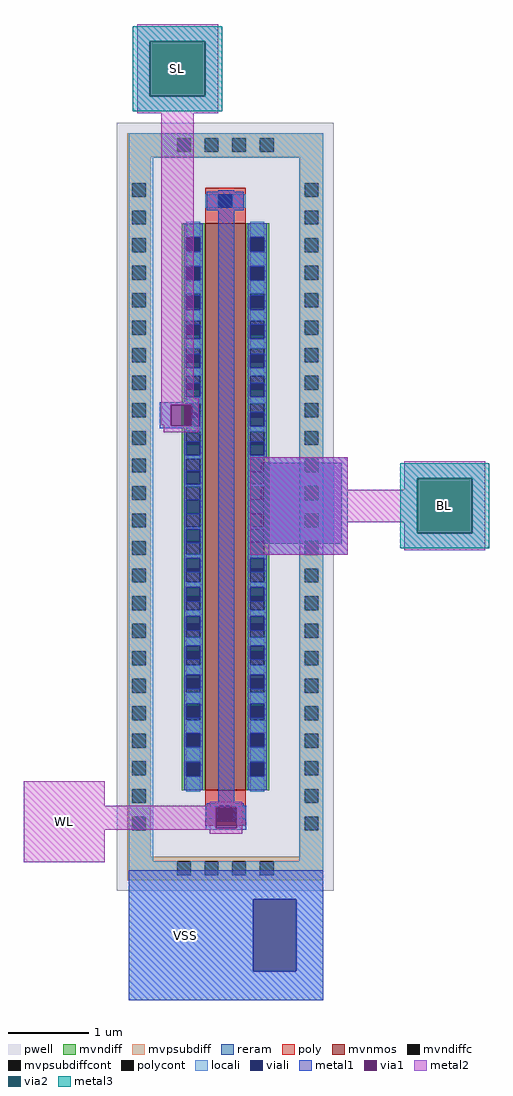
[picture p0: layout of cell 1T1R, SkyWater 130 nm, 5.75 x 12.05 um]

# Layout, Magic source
magic
tech sky130B
magscale 1 2
<< locali >>
rect -100 2500 380 2560
rect -100 760 -40 2500
rect 320 760 380 2500
rect -100 669 380 760
rect -100 491 207 669
rect 313 491 380 669
rect -100 420 380 491
<< viali >>
rect 207 491 313 669
<< metal1 >>
rect -24 1890 82 1896
rect -24 1838 3 1890
rect 55 1838 82 1890
rect -24 1832 82 1838
rect 120 900 160 2420
rect 200 1520 440 1760
rect 90 896 190 900
rect 90 844 114 896
rect 166 844 190 896
rect 90 840 190 844
rect -100 669 380 740
rect -100 491 207 669
rect 313 491 380 669
rect -100 420 380 491
<< via1 >>
rect 3 1838 55 1890
rect 114 844 166 896
<< metal2 >>
rect -80 2788 120 2830
rect -80 2652 -48 2788
rect 88 2652 120 2788
rect -80 2610 120 2652
rect -20 1906 60 2610
rect -20 1890 72 1906
rect -20 1840 3 1890
rect -14 1838 3 1840
rect 55 1838 72 1890
rect -14 1822 72 1838
rect 200 1680 440 1760
rect 580 1708 780 1750
rect 580 1680 612 1708
rect 200 1600 612 1680
rect 200 1520 440 1600
rect 580 1572 612 1600
rect 748 1572 780 1708
rect 580 1530 780 1572
rect -360 900 -160 960
rect 100 900 180 910
rect -360 896 180 900
rect -360 844 114 896
rect 166 844 180 896
rect -360 840 180 844
rect -360 760 -160 840
rect 100 830 180 840
<< via2 >>
rect -48 2652 88 2788
rect 612 1572 748 1708
<< metal3 >>
rect -90 2788 130 2825
rect -90 2652 -48 2788
rect 88 2652 130 2788
rect -90 2615 130 2652
rect 570 1708 790 1745
rect 570 1572 612 1708
rect 748 1572 790 1708
rect 570 1535 790 1572
use sky130_fd_pr__nfet_g5v0d10v5_9YEQ2B  XM1
transform 1 0 138 0 1 1638
box -268 -948 268 948
use sky130_fd_pr_reram__reram_cell_X  XR1
transform 1 0 256 0 1 2038
box -36 -498 176 -286
<< labels >>
flabel metal3 s 580 1540 780 1740 0 FreeSans 320 0 0 0 BL
port 1 nsew
flabel metal2 s -360 760 -160 960 0 FreeSans 320 0 0 0 WL
port 2 nsew
flabel metal3 s -80 2620 120 2820 0 FreeSans 320 0 0 0 SL
port 3 nsew
flabel metal1 s -60 480 140 680 0 FreeSans 320 0 0 0 VSS
port 4 nsew
<< end >>

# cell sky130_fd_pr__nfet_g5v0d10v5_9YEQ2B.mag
magic
tech sky130B
magscale 1 2
<< pwell >>
rect -268 -948 268 948
<< mvnmos >>
rect -50 -700 50 700
<< mvndiff >>
rect -108 663 -50 700
rect -108 629 -96 663
rect -62 629 -50 663
rect -108 595 -50 629
rect -108 561 -96 595
rect -62 561 -50 595
rect -108 527 -50 561
rect -108 493 -96 527
rect -62 493 -50 527
rect -108 459 -50 493
rect -108 425 -96 459
rect -62 425 -50 459
rect -108 391 -50 425
rect -108 357 -96 391
rect -62 357 -50 391
rect -108 323 -50 357
rect -108 289 -96 323
rect -62 289 -50 323
rect -108 255 -50 289
rect -108 221 -96 255
rect -62 221 -50 255
rect -108 187 -50 221
rect -108 153 -96 187
rect -62 153 -50 187
rect -108 119 -50 153
rect -108 85 -96 119
rect -62 85 -50 119
rect -108 51 -50 85
rect -108 17 -96 51
rect -62 17 -50 51
rect -108 -17 -50 17
rect -108 -51 -96 -17
rect -62 -51 -50 -17
rect -108 -85 -50 -51
rect -108 -119 -96 -85
rect -62 -119 -50 -85
rect -108 -153 -50 -119
rect -108 -187 -96 -153
rect -62 -187 -50 -153
rect -108 -221 -50 -187
rect -108 -255 -96 -221
rect -62 -255 -50 -221
rect -108 -289 -50 -255
rect -108 -323 -96 -289
rect -62 -323 -50 -289
rect -108 -357 -50 -323
rect -108 -391 -96 -357
rect -62 -391 -50 -357
rect -108 -425 -50 -391
rect -108 -459 -96 -425
rect -62 -459 -50 -425
rect -108 -493 -50 -459
rect -108 -527 -96 -493
rect -62 -527 -50 -493
rect -108 -561 -50 -527
rect -108 -595 -96 -561
rect -62 -595 -50 -561
rect -108 -629 -50 -595
rect -108 -663 -96 -629
rect -62 -663 -50 -629
rect -108 -700 -50 -663
rect 50 663 108 700
rect 50 629 62 663
rect 96 629 108 663
rect 50 595 108 629
rect 50 561 62 595
rect 96 561 108 595
rect 50 527 108 561
rect 50 493 62 527
rect 96 493 108 527
rect 50 459 108 493
rect 50 425 62 459
rect 96 425 108 459
rect 50 391 108 425
rect 50 357 62 391
rect 96 357 108 391
rect 50 323 108 357
rect 50 289 62 323
rect 96 289 108 323
rect 50 255 108 289
rect 50 221 62 255
rect 96 221 108 255
rect 50 187 108 221
rect 50 153 62 187
rect 96 153 108 187
rect 50 119 108 153
rect 50 85 62 119
rect 96 85 108 119
rect 50 51 108 85
rect 50 17 62 51
rect 96 17 108 51
rect 50 -17 108 17
rect 50 -51 62 -17
rect 96 -51 108 -17
rect 50 -85 108 -51
rect 50 -119 62 -85
rect 96 -119 108 -85
rect 50 -153 108 -119
rect 50 -187 62 -153
rect 96 -187 108 -153
rect 50 -221 108 -187
rect 50 -255 62 -221
rect 96 -255 108 -221
rect 50 -289 108 -255
rect 50 -323 62 -289
rect 96 -323 108 -289
rect 50 -357 108 -323
rect 50 -391 62 -357
rect 96 -391 108 -357
rect 50 -425 108 -391
rect 50 -459 62 -425
rect 96 -459 108 -425
rect 50 -493 108 -459
rect 50 -527 62 -493
rect 96 -527 108 -493
rect 50 -561 108 -527
rect 50 -595 62 -561
rect 96 -595 108 -561
rect 50 -629 108 -595
rect 50 -663 62 -629
rect 96 -663 108 -629
rect 50 -700 108 -663
<< mvndiffc >>
rect -96 629 -62 663
rect -96 561 -62 595
rect -96 493 -62 527
rect -96 425 -62 459
rect -96 357 -62 391
rect -96 289 -62 323
rect -96 221 -62 255
rect -96 153 -62 187
rect -96 85 -62 119
rect -96 17 -62 51
rect -96 -51 -62 -17
rect -96 -119 -62 -85
rect -96 -187 -62 -153
rect -96 -255 -62 -221
rect -96 -323 -62 -289
rect -96 -391 -62 -357
rect -96 -459 -62 -425
rect -96 -527 -62 -493
rect -96 -595 -62 -561
rect -96 -663 -62 -629
rect 62 629 96 663
rect 62 561 96 595
rect 62 493 96 527
rect 62 425 96 459
rect 62 357 96 391
rect 62 289 96 323
rect 62 221 96 255
rect 62 153 96 187
rect 62 85 96 119
rect 62 17 96 51
rect 62 -51 96 -17
rect 62 -119 96 -85
rect 62 -187 96 -153
rect 62 -255 96 -221
rect 62 -323 96 -289
rect 62 -391 96 -357
rect 62 -459 96 -425
rect 62 -527 96 -493
rect 62 -595 96 -561
rect 62 -663 96 -629
<< mvpsubdiff >>
rect -242 910 242 922
rect -242 876 -119 910
rect -85 876 -51 910
rect -17 876 17 910
rect 51 876 85 910
rect 119 876 242 910
rect -242 864 242 876
rect -242 799 -184 864
rect -242 765 -230 799
rect -196 765 -184 799
rect 184 799 242 864
rect -242 731 -184 765
rect -242 697 -230 731
rect -196 697 -184 731
rect 184 765 196 799
rect 230 765 242 799
rect 184 731 242 765
rect -242 663 -184 697
rect -242 629 -230 663
rect -196 629 -184 663
rect -242 595 -184 629
rect -242 561 -230 595
rect -196 561 -184 595
rect -242 527 -184 561
rect -242 493 -230 527
rect -196 493 -184 527
rect -242 459 -184 493
rect -242 425 -230 459
rect -196 425 -184 459
rect -242 391 -184 425
rect -242 357 -230 391
rect -196 357 -184 391
rect -242 323 -184 357
rect -242 289 -230 323
rect -196 289 -184 323
rect -242 255 -184 289
rect -242 221 -230 255
rect -196 221 -184 255
rect -242 187 -184 221
rect -242 153 -230 187
rect -196 153 -184 187
rect -242 119 -184 153
rect -242 85 -230 119
rect -196 85 -184 119
rect -242 51 -184 85
rect -242 17 -230 51
rect -196 17 -184 51
rect -242 -17 -184 17
rect -242 -51 -230 -17
rect -196 -51 -184 -17
rect -242 -85 -184 -51
rect -242 -119 -230 -85
rect -196 -119 -184 -85
rect -242 -153 -184 -119
rect -242 -187 -230 -153
rect -196 -187 -184 -153
rect -242 -221 -184 -187
rect -242 -255 -230 -221
rect -196 -255 -184 -221
rect -242 -289 -184 -255
rect -242 -323 -230 -289
rect -196 -323 -184 -289
rect -242 -357 -184 -323
rect -242 -391 -230 -357
rect -196 -391 -184 -357
rect -242 -425 -184 -391
rect -242 -459 -230 -425
rect -196 -459 -184 -425
rect -242 -493 -184 -459
rect -242 -527 -230 -493
rect -196 -527 -184 -493
rect -242 -561 -184 -527
rect -242 -595 -230 -561
rect -196 -595 -184 -561
rect -242 -629 -184 -595
rect -242 -663 -230 -629
rect -196 -663 -184 -629
rect -242 -697 -184 -663
rect -242 -731 -230 -697
rect -196 -731 -184 -697
rect 184 697 196 731
rect 230 697 242 731
rect 184 663 242 697
rect 184 629 196 663
rect 230 629 242 663
rect 184 595 242 629
rect 184 561 196 595
rect 230 561 242 595
rect 184 527 242 561
rect 184 493 196 527
rect 230 493 242 527
rect 184 459 242 493
rect 184 425 196 459
rect 230 425 242 459
rect 184 391 242 425
rect 184 357 196 391
rect 230 357 242 391
rect 184 323 242 357
rect 184 289 196 323
rect 230 289 242 323
rect 184 255 242 289
rect 184 221 196 255
rect 230 221 242 255
rect 184 187 242 221
rect 184 153 196 187
rect 230 153 242 187
rect 184 119 242 153
rect 184 85 196 119
rect 230 85 242 119
rect 184 51 242 85
rect 184 17 196 51
rect 230 17 242 51
rect 184 -17 242 17
rect 184 -51 196 -17
rect 230 -51 242 -17
rect 184 -85 242 -51
rect 184 -119 196 -85
rect 230 -119 242 -85
rect 184 -153 242 -119
rect 184 -187 196 -153
rect 230 -187 242 -153
rect 184 -221 242 -187
rect 184 -255 196 -221
rect 230 -255 242 -221
rect 184 -289 242 -255
rect 184 -323 196 -289
rect 230 -323 242 -289
rect 184 -357 242 -323
rect 184 -391 196 -357
rect 230 -391 242 -357
rect 184 -425 242 -391
rect 184 -459 196 -425
rect 230 -459 242 -425
rect 184 -493 242 -459
rect 184 -527 196 -493
rect 230 -527 242 -493
rect 184 -561 242 -527
rect 184 -595 196 -561
rect 230 -595 242 -561
rect 184 -629 242 -595
rect 184 -663 196 -629
rect 230 -663 242 -629
rect 184 -697 242 -663
rect -242 -765 -184 -731
rect -242 -799 -230 -765
rect -196 -799 -184 -765
rect 184 -731 196 -697
rect 230 -731 242 -697
rect 184 -765 242 -731
rect -242 -864 -184 -799
rect 184 -799 196 -765
rect 230 -799 242 -765
rect 184 -864 242 -799
rect -242 -876 242 -864
rect -242 -910 -119 -876
rect -85 -910 -51 -876
rect -17 -910 17 -876
rect 51 -910 85 -876
rect 119 -910 242 -876
rect -242 -922 242 -910
<< mvpsubdiffcont >>
rect -119 876 -85 910
rect -51 876 -17 910
rect 17 876 51 910
rect 85 876 119 910
rect -230 765 -196 799
rect -230 697 -196 731
rect 196 765 230 799
rect -230 629 -196 663
rect -230 561 -196 595
rect -230 493 -196 527
rect -230 425 -196 459
rect -230 357 -196 391
rect -230 289 -196 323
rect -230 221 -196 255
rect -230 153 -196 187
rect -230 85 -196 119
rect -230 17 -196 51
rect -230 -51 -196 -17
rect -230 -119 -196 -85
rect -230 -187 -196 -153
rect -230 -255 -196 -221
rect -230 -323 -196 -289
rect -230 -391 -196 -357
rect -230 -459 -196 -425
rect -230 -527 -196 -493
rect -230 -595 -196 -561
rect -230 -663 -196 -629
rect -230 -731 -196 -697
rect 196 697 230 731
rect 196 629 230 663
rect 196 561 230 595
rect 196 493 230 527
rect 196 425 230 459
rect 196 357 230 391
rect 196 289 230 323
rect 196 221 230 255
rect 196 153 230 187
rect 196 85 230 119
rect 196 17 230 51
rect 196 -51 230 -17
rect 196 -119 230 -85
rect 196 -187 230 -153
rect 196 -255 230 -221
rect 196 -323 230 -289
rect 196 -391 230 -357
rect 196 -459 230 -425
rect 196 -527 230 -493
rect 196 -595 230 -561
rect 196 -663 230 -629
rect -230 -799 -196 -765
rect 196 -731 230 -697
rect 196 -799 230 -765
rect -119 -910 -85 -876
rect -51 -910 -17 -876
rect 17 -910 51 -876
rect 85 -910 119 -876
<< poly >>
rect -50 772 50 788
rect -50 738 -17 772
rect 17 738 50 772
rect -50 700 50 738
rect -50 -738 50 -700
rect -50 -772 -17 -738
rect 17 -772 50 -738
rect -50 -788 50 -772
<< polycont >>
rect -17 738 17 772
rect -17 -772 17 -738
<< locali >>
rect -230 876 -119 910
rect -85 876 -51 910
rect -17 876 17 910
rect 51 876 85 910
rect 119 876 230 910
rect -230 799 -196 876
rect 196 799 230 876
rect -230 731 -196 765
rect -50 738 -17 772
rect 17 738 50 772
rect 196 731 230 765
rect -230 663 -196 697
rect -230 595 -196 629
rect -230 527 -196 561
rect -230 459 -196 493
rect -230 391 -196 425
rect -230 323 -196 357
rect -230 255 -196 289
rect -230 187 -196 221
rect -230 119 -196 153
rect -230 51 -196 85
rect -230 -17 -196 17
rect -230 -85 -196 -51
rect -230 -153 -196 -119
rect -230 -221 -196 -187
rect -230 -289 -196 -255
rect -230 -357 -196 -323
rect -230 -425 -196 -391
rect -230 -493 -196 -459
rect -230 -561 -196 -527
rect -230 -629 -196 -595
rect -230 -697 -196 -663
rect -96 665 -62 704
rect -96 595 -62 629
rect -96 527 -62 559
rect -96 459 -62 487
rect -96 391 -62 415
rect -96 323 -62 343
rect -96 255 -62 271
rect -96 187 -62 199
rect -96 119 -62 127
rect -96 51 -62 55
rect -96 -55 -62 -51
rect -96 -127 -62 -119
rect -96 -199 -62 -187
rect -96 -271 -62 -255
rect -96 -343 -62 -323
rect -96 -415 -62 -391
rect -96 -487 -62 -459
rect -96 -559 -62 -527
rect -96 -629 -62 -595
rect -96 -704 -62 -665
rect 62 665 96 704
rect 62 595 96 629
rect 62 527 96 559
rect 62 459 96 487
rect 62 391 96 415
rect 62 323 96 343
rect 62 255 96 271
rect 62 187 96 199
rect 62 119 96 127
rect 62 51 96 55
rect 62 -55 96 -51
rect 62 -127 96 -119
rect 62 -199 96 -187
rect 62 -271 96 -255
rect 62 -343 96 -323
rect 62 -415 96 -391
rect 62 -487 96 -459
rect 62 -559 96 -527
rect 62 -629 96 -595
rect 62 -704 96 -665
rect 196 663 230 697
rect 196 595 230 629
rect 196 527 230 561
rect 196 459 230 493
rect 196 391 230 425
rect 196 323 230 357
rect 196 255 230 289
rect 196 187 230 221
rect 196 119 230 153
rect 196 51 230 85
rect 196 -17 230 17
rect 196 -85 230 -51
rect 196 -153 230 -119
rect 196 -221 230 -187
rect 196 -289 230 -255
rect 196 -357 230 -323
rect 196 -425 230 -391
rect 196 -493 230 -459
rect 196 -561 230 -527
rect 196 -629 230 -595
rect 196 -697 230 -663
rect -230 -765 -196 -731
rect -50 -772 -17 -738
rect 17 -772 50 -738
rect 196 -765 230 -731
rect -230 -876 -196 -799
rect 196 -876 230 -799
rect -230 -910 -119 -876
rect -85 -910 -51 -876
rect -17 -910 17 -876
rect 51 -910 85 -876
rect 119 -910 230 -876
<< viali >>
rect -17 738 17 772
rect -96 663 -62 665
rect -96 631 -62 663
rect -96 561 -62 593
rect -96 559 -62 561
rect -96 493 -62 521
rect -96 487 -62 493
rect -96 425 -62 449
rect -96 415 -62 425
rect -96 357 -62 377
rect -96 343 -62 357
rect -96 289 -62 305
rect -96 271 -62 289
rect -96 221 -62 233
rect -96 199 -62 221
rect -96 153 -62 161
rect -96 127 -62 153
rect -96 85 -62 89
rect -96 55 -62 85
rect -96 -17 -62 17
rect -96 -85 -62 -55
rect -96 -89 -62 -85
rect -96 -153 -62 -127
rect -96 -161 -62 -153
rect -96 -221 -62 -199
rect -96 -233 -62 -221
rect -96 -289 -62 -271
rect -96 -305 -62 -289
rect -96 -357 -62 -343
rect -96 -377 -62 -357
rect -96 -425 -62 -415
rect -96 -449 -62 -425
rect -96 -493 -62 -487
rect -96 -521 -62 -493
rect -96 -561 -62 -559
rect -96 -593 -62 -561
rect -96 -663 -62 -631
rect -96 -665 -62 -663
rect 62 663 96 665
rect 62 631 96 663
rect 62 561 96 593
rect 62 559 96 561
rect 62 493 96 521
rect 62 487 96 493
rect 62 425 96 449
rect 62 415 96 425
rect 62 357 96 377
rect 62 343 96 357
rect 62 289 96 305
rect 62 271 96 289
rect 62 221 96 233
rect 62 199 96 221
rect 62 153 96 161
rect 62 127 96 153
rect 62 85 96 89
rect 62 55 96 85
rect 62 -17 96 17
rect 62 -85 96 -55
rect 62 -89 96 -85
rect 62 -153 96 -127
rect 62 -161 96 -153
rect 62 -221 96 -199
rect 62 -233 96 -221
rect 62 -289 96 -271
rect 62 -305 96 -289
rect 62 -357 96 -343
rect 62 -377 96 -357
rect 62 -425 96 -415
rect 62 -449 96 -425
rect 62 -493 96 -487
rect 62 -521 96 -493
rect 62 -561 96 -559
rect 62 -593 96 -561
rect 62 -663 96 -631
rect 62 -665 96 -663
rect -17 -772 17 -738
<< metal1 >>
rect -46 772 46 778
rect -46 738 -17 772
rect 17 738 46 772
rect -46 732 46 738
rect -102 665 -56 700
rect -102 631 -96 665
rect -62 631 -56 665
rect -102 593 -56 631
rect -102 559 -96 593
rect -62 559 -56 593
rect -102 521 -56 559
rect -102 487 -96 521
rect -62 487 -56 521
rect -102 449 -56 487
rect -102 415 -96 449
rect -62 415 -56 449
rect -102 377 -56 415
rect -102 343 -96 377
rect -62 343 -56 377
rect -102 305 -56 343
rect -102 271 -96 305
rect -62 271 -56 305
rect -102 233 -56 271
rect -102 199 -96 233
rect -62 199 -56 233
rect -102 161 -56 199
rect -102 127 -96 161
rect -62 127 -56 161
rect -102 89 -56 127
rect -102 55 -96 89
rect -62 55 -56 89
rect -102 17 -56 55
rect -102 -17 -96 17
rect -62 -17 -56 17
rect -102 -55 -56 -17
rect -102 -89 -96 -55
rect -62 -89 -56 -55
rect -102 -127 -56 -89
rect -102 -161 -96 -127
rect -62 -161 -56 -127
rect -102 -199 -56 -161
rect -102 -233 -96 -199
rect -62 -233 -56 -199
rect -102 -271 -56 -233
rect -102 -305 -96 -271
rect -62 -305 -56 -271
rect -102 -343 -56 -305
rect -102 -377 -96 -343
rect -62 -377 -56 -343
rect -102 -415 -56 -377
rect -102 -449 -96 -415
rect -62 -449 -56 -415
rect -102 -487 -56 -449
rect -102 -521 -96 -487
rect -62 -521 -56 -487
rect -102 -559 -56 -521
rect -102 -593 -96 -559
rect -62 -593 -56 -559
rect -102 -631 -56 -593
rect -102 -665 -96 -631
rect -62 -665 -56 -631
rect -102 -700 -56 -665
rect 56 665 102 700
rect 56 631 62 665
rect 96 631 102 665
rect 56 593 102 631
rect 56 559 62 593
rect 96 559 102 593
rect 56 521 102 559
rect 56 487 62 521
rect 96 487 102 521
rect 56 449 102 487
rect 56 415 62 449
rect 96 415 102 449
rect 56 377 102 415
rect 56 343 62 377
rect 96 343 102 377
rect 56 305 102 343
rect 56 271 62 305
rect 96 271 102 305
rect 56 233 102 271
rect 56 199 62 233
rect 96 199 102 233
rect 56 161 102 199
rect 56 127 62 161
rect 96 127 102 161
rect 56 89 102 127
rect 56 55 62 89
rect 96 55 102 89
rect 56 17 102 55
rect 56 -17 62 17
rect 96 -17 102 17
rect 56 -55 102 -17
rect 56 -89 62 -55
rect 96 -89 102 -55
rect 56 -127 102 -89
rect 56 -161 62 -127
rect 96 -161 102 -127
rect 56 -199 102 -161
rect 56 -233 62 -199
rect 96 -233 102 -199
rect 56 -271 102 -233
rect 56 -305 62 -271
rect 96 -305 102 -271
rect 56 -343 102 -305
rect 56 -377 62 -343
rect 96 -377 102 -343
rect 56 -415 102 -377
rect 56 -449 62 -415
rect 96 -449 102 -415
rect 56 -487 102 -449
rect 56 -521 62 -487
rect 96 -521 102 -487
rect 56 -559 102 -521
rect 56 -593 62 -559
rect 96 -593 102 -559
rect 56 -631 102 -593
rect 56 -665 62 -631
rect 96 -665 102 -631
rect 56 -700 102 -665
rect -46 -738 46 -732
rect -46 -772 -17 -738
rect 17 -772 46 -738
rect -46 -778 46 -772
<< properties >>
string FIXED_BBOX -212 -892 212 892
<< end >>

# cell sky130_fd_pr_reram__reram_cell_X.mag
magic
tech sky130B
<< metal1 >>
rect -15 -246 85 -146
<< reram >>
rect -15 -246 85 -146
<< labels >>
flabel metal2 s -15 -246 85 -146 0 FreeSans 160 0 0 0 TE
port 1 nsew
flabel metal1 s -15 -246 85 -146 0 FreeSans 160 0 0 0 BE
port 2 nsew
<< end >>
